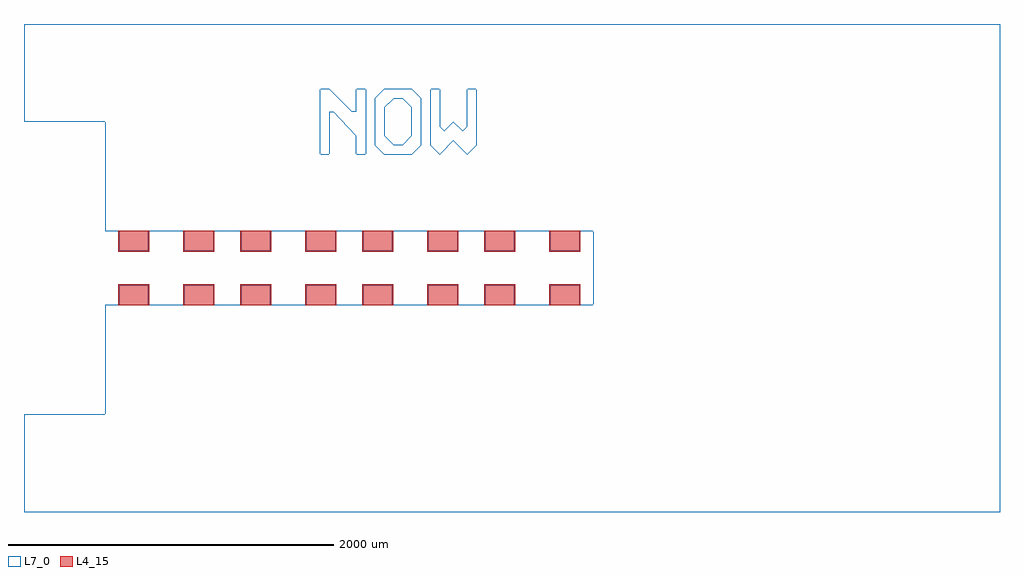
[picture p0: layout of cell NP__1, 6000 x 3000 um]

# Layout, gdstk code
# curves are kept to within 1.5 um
import gdstk
lib = gdstk.Library(unit=1e-6, precision=5e-09)
def R(c, l, rs):  # rectangles x0, y0, x1, y1
    for r in rs: c.add(gdstk.rectangle(r[:2], r[2:], *l))
def P(c, l, *ps):  # polygons
    for p in ps: c.add(gdstk.Polygon(p, *l))
L4_15 = (4, 15)
L7_0 = (7, 0)

np__1 = lib.new_cell('NP__1')
R(np__1, L4_15, [(9080,1270,9270,1400), (9480,1270,9670,1400), (9830,1270,10020,1400), (10230,1270,10420,1400), (10580,1270,10770,1400), (10980,1270,11170,1400), (11330,1270,11520,1400), (11730,1270,11920,1400), (9080,1600,9270,1730), (9480,1600,9670,1730), (9830,1600,10020,1730), (10230,1600,10420,1730), (10580,1600,10770,1730), (10980,1600,11170,1730), (11330,1600,11520,1730), (11730,1600,11920,1730)])
P(np__1, L7_0, [(11000,2256),(10940,2256),(10940,2544),(10884,2600),(10716,2600),(10660,2544),(10660,2256),(10716,2200),(10600,2200),(10600,2600),(10544,2600),(10544,2460),(10516,2460),(10376,2600),(10320,2600),(10320,2200),(10376,2200),(10415,1725),(10415,1605),(10235,1605),(10235,1725),(10015,1725),(10015,1605),(9835,1605),(9835,1725),(9665,1725),(9665,1605),(9485,1605),(9485,1725),(9265,1725),(9265,1605),(9085,1605),(9085,1725),(9000,1725),(9000,2400),(8500,2400),(8500,3000),(14500,3000),(14500,0),(8500,0),(8500,600),(9000,600),(9000,1275),(9085,1275),(9085,1395),(9265,1395),(9265,1275),(9485,1275),(9485,1395),(9665,1395),(9665,1275),(9835,1275),(9835,1395),(10015,1395),(10015,1275),(10235,1275),(10235,1395),(10415,1395),(10415,1275),(10585,1275),(10585,1395),(10765,1395),(10765,1275),(10985,1275),(10985,1395),(11165,1395),(11165,1275),(11335,1275),(11335,1395),(11515,1395),(11515,1275),(11735,1275),(11735,1395),(11915,1395),(11915,1275),(12000,1275),(12000,1725),(11915,1725),(11915,1605),(11735,1605),(11735,1725),(11515,1725),(11515,1605),(11335,1605),(11335,1725),(11165,1725),(11165,1605),(10985,1605),(10985,1725),(10765,1725),(10765,1605),(10585,1605),(10585,1725),(10415,1725),(10376,2200),(10376,2460),(10404,2460),(10544,2312),(10544,2200),(10884,2200),(10940,2256),(11000,2256),(11056,2200),(11140,2284),(11224,2200),(11280,2256),(11280,2600),(11224,2600),(11224,2368),(11196,2340),(11140,2396),(11084,2340),(11056,2368),(11056,2600),(11000,2600)],
  [(10772,2256),(10716,2312),(10716,2488),(10772,2544),(10828,2544),(10884,2488),(10884,2312),(10828,2256)])

lib.write_gds('NP__1.gds')
